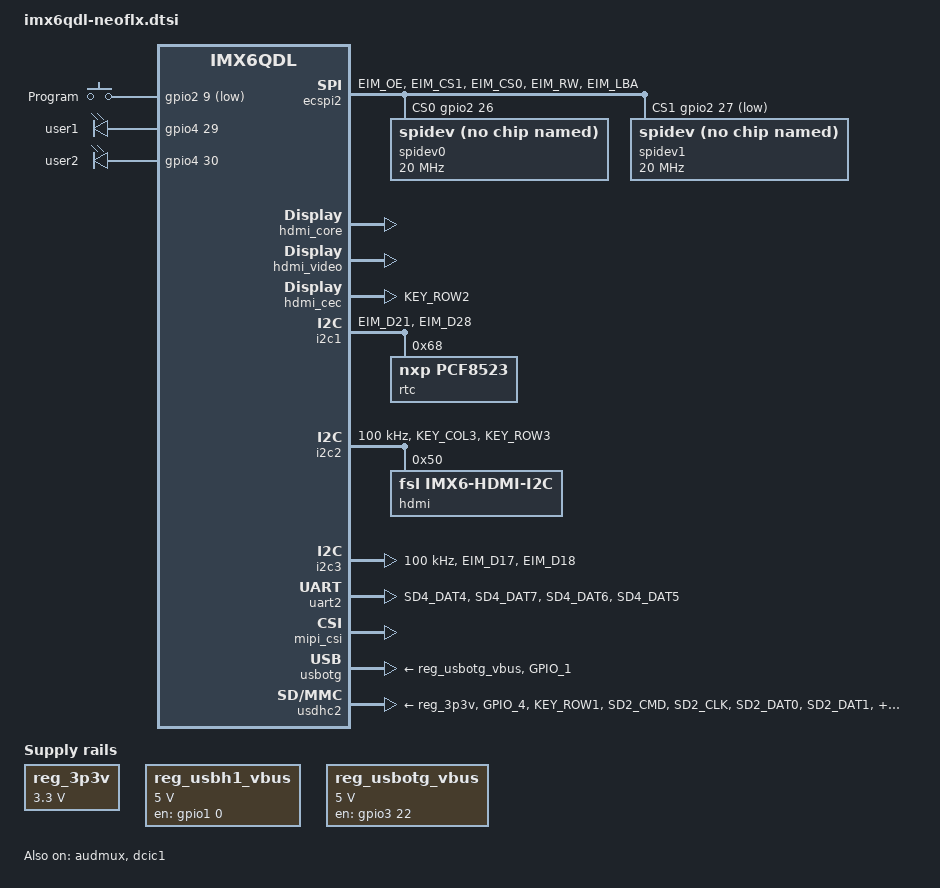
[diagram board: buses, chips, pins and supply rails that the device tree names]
/*
 * Copyright (C) 2016 Yoonki Kim
 *
 * Copyright 2016 MDS Technology co,ltd. All Rights Reserved.
 *
 * This file is dual-licensed: you can use it either under the terms
 * of the GPL or the X11 license, at your option. Note that this dual
 * licensing only applies to this file, and not this project as a
 * whole.
 *
 *  a) This file is free software; you can redistribute it and/or
 *     modify it under the terms of the GNU General Public License as
 *     published by the Free Software Foundation; either version 2 of the
 *     License.
 *
 *     This file is distributed in the hope that it will be useful
 *     but WITHOUT ANY WARRANTY; without even the implied warranty of
 *     MERCHANTABILITY or FITNESS FOR A PARTICULAR PURPOSE.  See the
 *     GNU General Public License for more details.
 *
 * Or, alternatively
 *
 *  b) Permission is hereby granted, free of charge, to any person
 *     obtaining a copy of this software and associated documentation
 *     files (the "Software"), to deal in the Software without
 *     restriction, including without limitation the rights to use
 *     copy, modify, merge, publish, distribute, sublicense, and/or
 *     sell copies of the Software, and to permit persons to whom the
 *     Software is furnished to do so, subject to the following
 *     conditions:
 *
 *     The above copyright notice and this permission notice shall be
 *     included in all copies or substantial portions of the Software.
 *
 *     THE SOFTWARE IS PROVIDED , WITHOUT WARRANTY OF ANY KIND
 *     EXPRESS OR IMPLIED, INCLUDING BUT NOT LIMITED TO THE WARRANTIES
 *     OF MERCHANTABILITY, FITNESS FOR A PARTICULAR PURPOSE AND
 *     NONINFRINGEMENT. IN NO EVENT SHALL THE AUTHORS OR COPYRIGHT
 *     HOLDERS BE LIABLE FOR ANY CLAIM, DAMAGES OR OTHER LIABILITY
 *     WHETHER IN AN ACTION OF CONTRACT, TORT OR OTHERWISE, ARISING
 *     FROM, OUT OF OR IN CONNECTION WITH THE SOFTWARE OR THE USE OR
 *     OTHER DEALINGS IN THE SOFTWARE.
 */
#include "imx6qdl-solidrun-microsom.dtsi"
#include "imx6qdl-solidrun-microsom-ar8035.dtsi"
#include <dt-bindings/gpio/gpio.h>
#include <dt-bindings/input/input.h>

/ {
	aliases {
		mxcfb0 = &mxcfb1;
	};

	chosen {
		stdout-path = &uart1;
	};

  gpio-keys {
    compatible = "gpio-keys1";
    pinctrl-names = "default";
    pinctrl-0 = <&pinctrl_neoflx10_gpio_keys>;

    program {
      label = "Program";
      gpios = <&gpio2 9 GPIO_ACTIVE_LOW>;
      gpio-key,wakeup;
      linux,code = <KEY_PROGRAM>;
    };
  };

  leds {
    compatible = "gpio-leds";
    pinctrl-names = "default";
    pinctrl-0 = <&pinctrl_neoflx10_gpio_leds>;

    led0: user1 {
      label = "user1";
      gpios = <&gpio4 29 GPIO_ACTIVE_HIGH>;
      default-statue = "on";
      linux,default-trigger = "heartbeat";
    };

    led1: user2 {
      label = "user2";
      gpios = <&gpio4 30 GPIO_ACTIVE_HIGH>;
      default-state = "off";
    };
  };

	regulators {
		compatible = "simple-bus";

		reg_3p3v: 3p3v {
			compatible = "regulator-fixed";
			regulator-name = "3P3V";
			regulator-min-microvolt = <3300000>;
			regulator-max-microvolt = <3300000>;
			regulator-always-on;
		};

		reg_usbh1_vbus: usb-h1-vbus {
			compatible = "regulator-fixed";
			enable-active-high;
			gpio = <&gpio1 0 0>;
			pinctrl-names = "default";
			pinctrl-0 = <&pinctrl_neoflx10_usbh1_vbus>;
			regulator-name = "usb_h1_vbus";
			regulator-min-microvolt = <5000000>;
			regulator-max-microvolt = <5000000>;
		};

		reg_usbotg_vbus: usb-otg-vbus {
			compatible = "regulator-fixed";
			enable-active-high;
			gpio = <&gpio3 22 0>;
			pinctrl-names = "default";
			pinctrl-0 = <&pinctrl_neoflx10_usbotg_vbus>;
			regulator-name = "usb_otg_vbus";
			regulator-min-microvolt = <5000000>;
			regulator-max-microvolt = <5000000>;
		};
	};

	mxcfb1: fb@0 {
		compatible = "fsl,mxc_sdc_fb";
		disp_dev = "hdmi";
		interface_pix_fmt = "RGB24";
		mode_str ="1920x1080M@60";
		default_bpp = <24>;
		int_clk = <0>;
		late_init = <0>;
		status = "okay";
	};

	v4l2_cap_0 {
		compatible = "fsl,imx6q-v4l2-capture";
		ipu_id = <0>;
		csi_id = <1>;
		mclk_source = <0>;
		mipi_camera = <1>;
		default_input = <1>;
		status = "okay";
	};

	v4l2_out {
		compatible = "fsl,mxc_v4l2_output";
		status = "okay";
	};
};

&audmux {
	status = "okay";
};

&dcic1 {
	dcic_id = <0>;
	dcic_mux = "dcic-hdmi";
	status = "okay";
};

&ecspi2 {
	fsl,spi-num-chipselects = <2>;
	cs-gpios = <&gpio2 26 0>, <&gpio2 27 1>;
	pinctrl-names = "default";
	pinctrl-0 = <&pinctrl_neoflx10_ecspi2>;
	status = "okay";

	spidev0: spi@0 {
		compatible = "spidev";
		reg = <0>;
		spi-max-frequency = <20000000>;
	};

	spidev1: spi@1 {
		compatible = "spidev";
		reg = <1>;
		spi-max-frequency = <20000000>;
	};
};

&hdmi_core {
	ipu_id = <0>;
	disp_id = <0>;
	status = "okay";
};

&hdmi_video {
	fsl,phy_reg_vlev = <0x0294>;
	fsl,phy_reg_cksymtx = <0x800d>;
	status = "okay";
};

&hdmi_cec {
        pinctrl-names = "default";
        pinctrl-0 = <&pinctrl_neoflx10_hdmi>;
        status = "okay";
};

&i2c1 {
	pinctrl-names = "default";
	pinctrl-0 = <&pinctrl_neoflx10_i2c1>;
	status = "okay";

	rtc: pcf8523@68 {
		compatible = "nxp,pcf8523";
		reg = <0x68>;
	};
};

&i2c2 {
	clock-frequency = <100000>;
	pinctrl-names = "default";
	pinctrl-0 = <&pinctrl_neoflx10_i2c2>;
	status = "okay";

	hdmi: edid@50 {
		compatible = "fsl,imx6-hdmi-i2c";
		reg = <0x50>;
	};
};

&i2c3 {
	clock-frequency = <100000>;
	pinctrl-names = "default";
	pinctrl-0 = <&pinctrl_neoflx10_i2c3>;
	status = "okay";
};

&uart2 {
  pinctrl-names = "default";
  pinctrl-0 = <&pinctrl_neoflx10_uart2>;
  status = "okay";
};

&iomuxc {
	neoflx10 {

    pinctrl_neoflx10_gpio_keys: neoflx10-gpio-keys {
      fsl,pins = <
        MX6QDL_PAD_SD4_DAT1__GPIO2_IO09 0x1b0b0
      >;
    };

    pinctrl_neoflx10_gpio_leds: neoflx10-gpio-leds {
      fsl,pins = <
        MX6QDL_PAD_DISP0_DAT8__GPIO4_IO29 0x1b0b0
        MX6QDL_PAD_DISP0_DAT9__GPIO4_IO30 0x1b0b0
      >;
    };

    pinctrl_neoflx10_i2c1: neoflx10-i2c1 {
      fsl,pins = <
        MX6QDL_PAD_EIM_D21__I2C1_SCL 0x4001b8b1
        MX6QDL_PAD_EIM_D28__I2C1_SDA 0x4001b8b1
      >;
    };

    pinctrl_neoflx10_i2c2: neoflx10-i2c2 {
      fsl,pins = <
        MX6QDL_PAD_KEY_COL3__I2C2_SCL 0x4001b8b1
        MX6QDL_PAD_KEY_ROW3__I2C2_SDA 0x4001b8b1
      >;
    };

    pinctrl_neoflx10_i2c3: neoflx10-i2c3 {
      fsl,pins = <
        MX6QDL_PAD_EIM_D17__I2C3_SCL 0x4001b8b1
        MX6QDL_PAD_EIM_D18__I2C3_SDA 0x4001b8b1
      >;
    };

    pinctrl_neoflx10_ecspi2: neoflx10-ecspi2 {
      fsl,pins = <
        MX6QDL_PAD_EIM_OE__ECSPI2_MISO   0x100b1
        MX6QDL_PAD_EIM_CS1__ECSPI2_MOSI  0x100b1
        MX6QDL_PAD_EIM_CS0__ECSPI2_SCLK  0x100b1
        MX6QDL_PAD_EIM_RW__GPIO2_IO26    0x000b1 /* CS 0 */
        MX6QDL_PAD_EIM_LBA__GPIO2_IO27   0x100b1 /* CS 1 */
      >;
    };

    pinctrl_neoflx10_uart2: neoflx10-uart2 {
      fsl,pins = <
        MX6QDL_PAD_SD4_DAT4__UART2_RX_DATA 0x1b0b1
        MX6QDL_PAD_SD4_DAT7__UART2_TX_DATA 0x1b0b1
        MX6QDL_PAD_SD4_DAT6__UART2_CTS_B   0x1b0b1
        MX6QDL_PAD_SD4_DAT5__UART2_RTS_B   0x1b0b1
      >;
    };

		pinctrl_neoflx10_hdmi: neoflx10-hdmi {
			fsl,pins = <
				MX6QDL_PAD_KEY_ROW2__HDMI_TX_CEC_LINE 0x1f8b0
			>;
		};

		pinctrl_flx10_mipi: neoflx10_mipi {
			fsl,pins = <
				MX6QDL_PAD_SD4_DAT2__GPIO2_IO10 0x17059
				MX6QDL_PAD_NANDF_CS2__GPIO6_IO15 0x13059
			>;
		};

		pinctrl_neoflx10_usbh1_vbus: neoflx10-usbh1-vbus {
			fsl,pins = <MX6QDL_PAD_GPIO_0__GPIO1_IO00 0x1b0b0>;
		};

		pinctrl_neoflx10_usbotg_id: neoflx10-usbotg-id {
			/*
			 * Similar to pinctrl_usbotg_2, but we want it
			 * pulled down for a fixed host connection.
			 */
			fsl,pins = <MX6QDL_PAD_GPIO_1__USB_OTG_ID 0x13059>;
		};

		pinctrl_neoflx10_usbotg_vbus: neoflx10-usbotg-vbus {
			fsl,pins = <MX6QDL_PAD_EIM_D22__USB_OTG_PWR 0x1b0b0>;
		};

		pinctrl_neoflx10_usdhc2_aux: neoflx10-usdhc2-aux {
			fsl,pins = <
				MX6QDL_PAD_GPIO_4__GPIO1_IO04    0x13071
				MX6QDL_PAD_KEY_ROW1__SD2_VSELECT 0x1b071
			>;
		};

		pinctrl_neoflx10_usdhc2: neoflx10-usdhc2 {
			fsl,pins = <
				MX6QDL_PAD_SD2_CMD__SD2_CMD    0x17059
				MX6QDL_PAD_SD2_CLK__SD2_CLK    0x10059
				MX6QDL_PAD_SD2_DAT0__SD2_DATA0 0x17059
				MX6QDL_PAD_SD2_DAT1__SD2_DATA1 0x17059
				MX6QDL_PAD_SD2_DAT2__SD2_DATA2 0x17059
				MX6QDL_PAD_SD2_DAT3__SD2_DATA3 0x13059
			>;
		};
	};
};

&mipi_csi {
	ipu_id = <0>;
	csi_id = <1>;
	v_channel = <0>;
	lanes = <2>;
	mipi_dphy_clk = /bits/ 8 <0x28>;
	status = "okay";
};

&usbh1 {
	disable-over-current;
	vbus-supply = <&reg_usbh1_vbus>;
	status = "disabled";
};

&usbotg {
	disable-over-current;
	pinctrl-names = "default";
	pinctrl-0 = <&pinctrl_neoflx10_usbotg_id>;
	vbus-supply = <&reg_usbotg_vbus>;
	status = "okay";
};

&usdhc2 {
	pinctrl-names = "default";
	pinctrl-0 = <
		&pinctrl_neoflx10_usdhc2_aux
		&pinctrl_neoflx10_usdhc2
	>;
	vmmc-supply = <&reg_3p3v>;
	cd-gpios = <&gpio1 4 GPIO_ACTIVE_LOW>;
	status = "okay";
};
